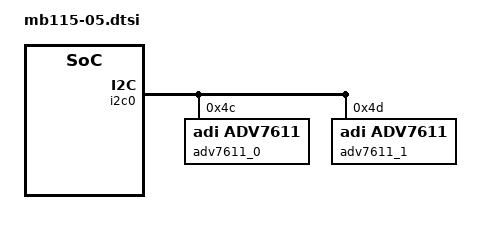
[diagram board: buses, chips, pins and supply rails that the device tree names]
/*
*
* Device Tree Source for RCM MB115.05 extention board ( Video Capture Board )
*
*/
/ {
	plb {
		lsif1 {
			i2c0: i2c@0x3C05A000 {
				status = "ok";

				// HDMI graber, channel 0
				adv7611_0: adv7611@4c {
					default-input = <0>;
					sample-alsb = <1>;
					compatible = "adi,adv7611";
					reg = <0x4c>, <0x42>, <0x40>, <0x3e>, <0x38>, <0x3c>, <0x26>, <0x32>, <0x36>, <0x34>, <0x30>, <0x22>, <0x24>;
					reg-names = "main",  "avlink","cec","infoframe","esdp", "dpp", "afe", "rep", "edid", "hdmi", "test", "cp", "vdp";
					#address-cells = <1>;
					#size-cells = <0>;
					port@0 {
						reg = <0>;
						hdmi: endpoint_0 {
							hsync-active=<1>;
							vsync-active=<1>;
							pclk-sample=<1>;
						};
					};
				};

				// HDMI graber, channel 1
				adv7611_1: adv7611@4d {
					default-input = <0>;
					compatible = "adi,adv7611";
					reg = <0x4d>, <0x43>, <0x41>, <0x3f>, <0x39>, <0x3d>, <0x27>, <0x33>, <0x37>, <0x35>, <0x31>, <0x23>, <0x25>;
					reg-names = "main",  "avlink","cec","infoframe","esdp", "dpp", "afe", "rep", "edid", "hdmi", "test", "cp", "vdp";
					#address-cells = <1>;
					#size-cells = <0>;
					port@0 {
						reg = <0>;
						hdmi_1: endpoint_1 {
							hsync-active=<1>;
							vsync-active=<1>;
							pclk-sample=<1>;
						};
					};
				};
			};
		};

		mms {
			vdu_grabber_int0: vdu_grabber@0x38015000 { // (capture from fb1)
				status = "okay";
			};

			vdu_grabber_ext0: vdu_grabber@0x38016000 { // EXT0
				status = "okay";
			};

			vdu_grabber_int1: vdu_grabber@0x3801b000 { // (capture from fb0)
				status = "okay";
			};

			vdu_grabber_ext1: vdu_grabber@0x3801c000 { // EXT1
				status = "okay";
			};
		};
	};
};
